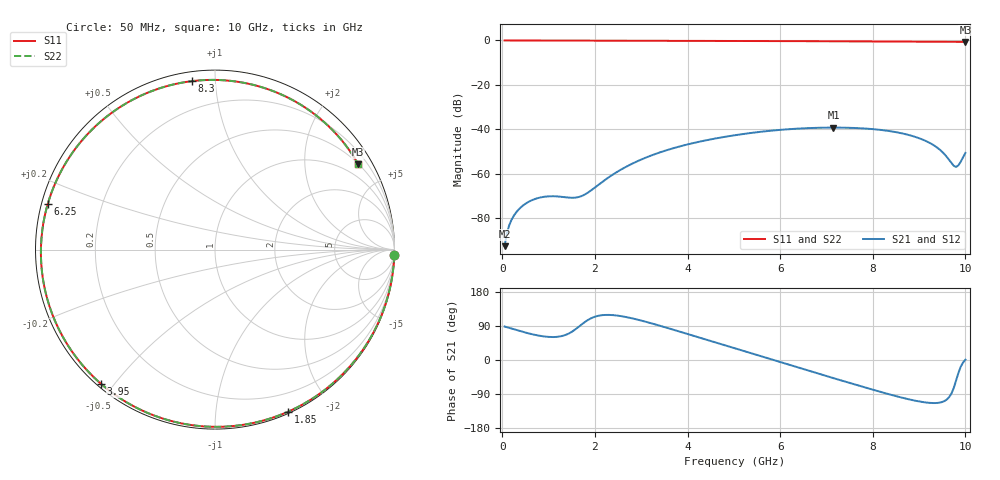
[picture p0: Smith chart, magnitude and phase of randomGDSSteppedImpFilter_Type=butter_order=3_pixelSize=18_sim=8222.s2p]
! freq	dB(S11)	phase(S11)	dB(S12)	phase(S12)
!  dB(S21)	phase(S21)	dB(S22)	phase(S22)
!S-par simulation data
#  GHz  S  DB  R 50
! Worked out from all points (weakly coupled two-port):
!   200 points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, 50 MHz to 10 GHz, reference 50 ohm
!   highest |S21| = -39.22 dB at 7.15 GHz (marker M1); lowest = -92.6 dB at 50 MHz (marker M2)
!   lowest |S11| = -0.6 dB at 10 GHz (marker M3), VSWR 27.06, Z = 25.8 + j178 ohm
!   |S11| at or under -10 dB: nowhere
!   |S22| runs from -0.6 to 0.0 dB; largest |S21 - S12| = 0
!   S11 on the Smith chart (normalised r, x): 50 MHz: 1, -61; 1.85 GHz: 0.02, -1.55; 3.95 GHz: 0.01, -0.46; 6.25 GHz: 0.02, +0.14; 8.3 GHz: 0.05, +0.87; 10 GHz: 0.52, +3.56
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0.05  -0.00 -1.9  -92.59 88.3  -92.59 88.3  -0.00 -1.9
0.2  -0.01 -7.4  -80.71 82.8  -80.71 82.8  -0.01 -7.4
0.45  -0.02 -16.5  -74.24 74.0  -74.24 74.0  -0.02 -16.5
0.75  -0.03 -27.4  -71.06 65.2  -71.06 65.2  -0.03 -27.4
1.75  -0.08 -62.3  -69.68 97.2  -69.68 97.2  -0.08 -62.4
1.85  -0.08 -65.7  -68.46 105.6  -68.46 105.6  -0.08 -65.7
2.6  -0.11 -90.0  -57.69 115.0  -57.69 115.0  -0.11 -90.0
3.4  -0.14 -114.3  -50.40 90.5  -50.40 90.5  -0.14 -114.3
3.95  -0.16 -130.2  -47.05 70.5  -47.05 70.5  -0.16 -130.2
5.05  -0.22 -161.2  -42.56 29.9  -42.56 29.9  -0.22 -161.2
5.65  -0.26 -178.1  -40.94 7.7  -40.94 7.7  -0.26 -178.1
6.25  -0.30 164.6  -39.85 -14.7  -39.85 -14.7  -0.30 164.6
6.7  -0.34 151.1  -39.38 -31.4  -39.38 -31.4  -0.34 151.1
7.15  -0.37 137.1  -39.22 -47.8  -39.22 -47.8  -0.37 137.1
7.75  -0.42 117.3  -39.53 -69.4  -39.53 -69.4  -0.42 117.3
8.3  -0.47 97.9  -40.60 -88.7  -40.60 -88.7  -0.47 97.8
8.35  -0.47 96.1  -40.75 -90.4  -40.75 -90.4  -0.47 96.0
8.85  -0.52 77.2  -42.97 -105.7  -42.97 -105.7  -0.52 77.2
9.25  -0.55 61.5  -46.34 -113.3  -46.34 -113.3  -0.55 61.4
9.5  -0.58 51.4  -50.16 -110.8  -50.16 -110.8  -0.58 51.3
9.8  -0.61 39.1  -56.93 -54.0  -56.93 -54.0  -0.61 39.0
10  -0.64 30.8  -50.63 0.8  -50.63 0.8  -0.64 30.8
